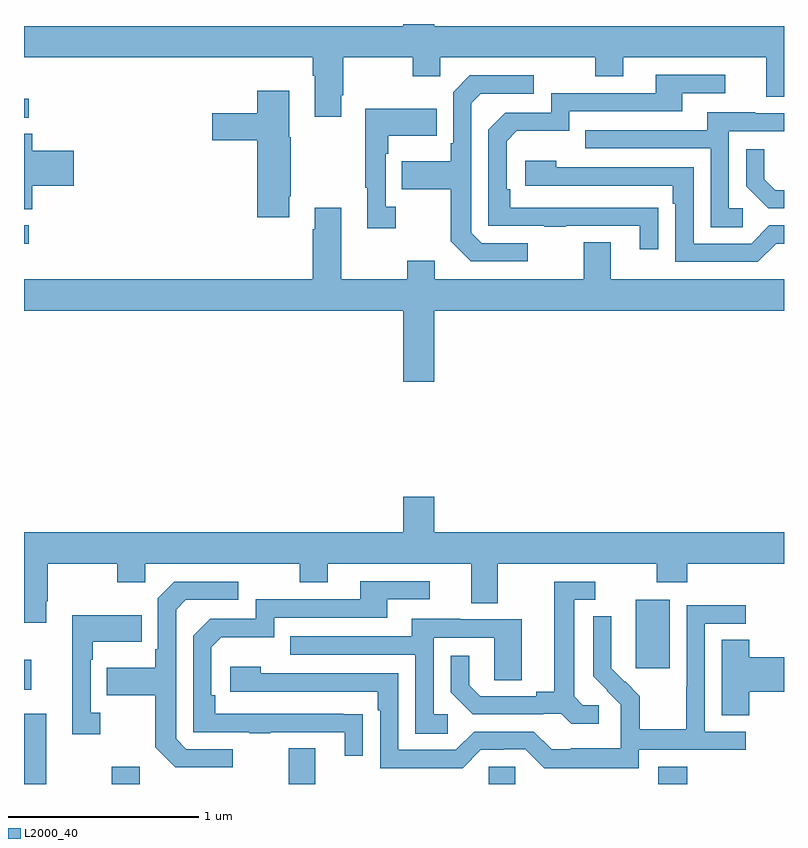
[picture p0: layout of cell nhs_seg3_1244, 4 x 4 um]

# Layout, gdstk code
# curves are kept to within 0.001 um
import gdstk
lib = gdstk.Library(unit=1e-6, precision=1e-09)
def R(c, l, rs):  # rectangles x0, y0, x1, y1
    for r in rs: c.add(gdstk.rectangle(r[:2], r[2:], *l))
def P(c, l, *ps):  # polygons
    for p in ps: c.add(gdstk.Polygon(p, *l))
L2000_40 = (2000, 40)

nhs_seg3_1244 = lib.new_cell('nhs_seg3_1244')
R(nhs_seg3_1244, L2000_40, [(175,722.4,175.117,722.77), (175.462,722.4,175.609,722.491), (176.393,722.4,176.533,722.587), (177.447,722.4,177.585,722.49), (178.337,722.4,178.49,722.491), (175,722.897,175.039,723.055), (178.22,723.009,178.399,723.37), (175,725.244,175.024,725.34), (175,725.907,175.024,726.006)])
P(nhs_seg3_1244, L2000_40, [(176.671,726.025),(176.679,726.025),(176.679,726.224),(177.046,726.224),(177.046,726.125),(177.192,726.125),(177.192,726.224),(178.006,726.224),(178.006,726.125),(178.153,726.125),(178.153,726.224),(178.907,726.224),(178.907,726.016),(179,726.016),(179,726.388),(177.16,726.388),(177.16,726.4),(176.996,726.4),(176.996,726.388),(175,726.388),(175,726.224),(176.519,726.224),(176.519,726.128),(176.531,726.128),(176.531,725.913),(176.671,725.913)],
  [(178.337,725.432),(177.56,725.433),(177.56,725.53),(177.54,725.53),(177.54,725.784),(177.593,725.837),(177.87,725.837),(177.87,725.94),(178.465,725.94),(178.465,726.036),(178.69,726.036),(178.69,726.132),(178.325,726.132),(178.325,726.036),(177.774,726.036),(177.774,725.934),(177.534,725.934),(177.444,725.844),(177.444,725.337),(177.739,725.337),(177.739,725.332),(177.851,725.332),(177.851,725.337),(178.241,725.337),(178.241,725.214),(178.337,725.214)],
  [(177.652,725.247),(177.408,725.247),(177.354,725.301),(177.354,725.982),(177.405,726.033),(177.682,726.033),(177.682,726.129),(177.345,726.129),(177.258,726.042),(177.258,725.773),(177.246,725.773),(177.246,725.677),(176.989,725.677),(176.989,725.53),(177.246,725.53),(177.246,725.257),(177.351,725.151),(177.652,725.151)],
  [(176.395,725.494),(176.403,725.494),(176.403,725.805),(176.395,725.805),(176.395,726.049),(176.228,726.049),(176.228,725.931),(175.992,725.931),(175.992,725.789),(176.228,725.789),(176.228,725.382),(176.395,725.382)],
  [(176.956,725.438),(176.904,725.438),(176.904,725.717),(176.917,725.717),(176.917,725.813),(177.173,725.813),(177.173,725.953),(176.796,725.953),(176.796,725.537),(176.807,725.537),(176.807,725.325),(176.956,725.325)],
  [(178.783,725.43),(178.71,725.43),(178.71,725.835),(179,725.835),(179,725.931),(178.849,725.931),(178.849,725.935),(178.595,725.935),(178.595,725.841),(177.955,725.841),(177.955,725.745),(178.614,725.745),(178.614,725.329),(178.783,725.329)],
  [(175.043,725.549),(175.261,725.549),(175.261,725.732),(175.043,725.732),(175.043,725.822),(175,725.822),(175,725.425),(175.043,725.425)],
  [(179,725.526),(178.954,725.526),(178.897,725.583),(178.897,725.74),(178.8,725.74),(178.8,725.546),(178.916,725.43),(179,725.43)],
  [(178.959,725.244),(179,725.244),(179,725.34),(178.923,725.34),(178.827,725.244),(178.524,725.244),(178.524,725.646),(177.8,725.646),(177.8,725.68),(177.639,725.68),(177.639,725.55),(178.415,725.55),(178.415,725.453),(178.428,725.453),(178.428,725.148),(178.863,725.148)],
  [(177.16,724.892),(179,724.892),(179,725.056),(178.087,725.056),(178.087,725.251),(177.947,725.251),(177.947,725.056),(177.163,725.056),(177.163,725.155),(177.016,725.155),(177.016,725.056),(176.671,725.056),(176.671,725.434),(176.531,725.434),(176.531,725.321),(176.519,725.321),(176.519,725.056),(175,725.056),(175,724.892),(176.996,724.892),(176.996,724.518),(177.16,724.518)],
  [(175.117,723.361),(175.125,723.361),(175.125,723.56),(175.492,723.56),(175.492,723.461),(175.638,723.461),(175.638,723.56),(176.452,723.56),(176.452,723.461),(176.599,723.461),(176.599,723.56),(177.353,723.56),(177.353,723.352),(177.493,723.352),(177.493,723.56),(178.33,723.56),(178.33,723.461),(178.49,723.461),(178.49,723.56),(179,723.56),(179,723.724),(177.16,723.724),(177.16,723.913),(176.996,723.913),(176.996,723.724),(175,723.724),(175,723.249),(175.117,723.249)],
  [(176.783,722.768),(176.006,722.769),(176.006,722.866),(175.986,722.866),(175.986,723.12),(176.039,723.173),(176.316,723.173),(176.316,723.276),(176.911,723.276),(176.911,723.372),(177.136,723.372),(177.136,723.468),(176.771,723.468),(176.771,723.372),(176.22,723.372),(176.22,723.27),(175.98,723.27),(175.89,723.18),(175.89,722.673),(176.185,722.673),(176.185,722.668),(176.297,722.668),(176.297,722.673),(176.687,722.673),(176.687,722.55),(176.783,722.55)],
  [(178.024,722.814),(177.942,722.814),(177.895,722.861),(177.895,723.369),(178.006,723.369),(178.006,723.465),(177.791,723.465),(177.791,722.885),(177.695,722.885),(177.695,722.862),(177.4,722.862),(177.343,722.919),(177.343,723.076),(177.246,723.076),(177.246,722.882),(177.362,722.766),(177.734,722.766),(177.734,722.769),(177.828,722.769),(177.88,722.717),(178.024,722.717)],
  [(176.098,722.583),(175.854,722.583),(175.8,722.637),(175.8,723.318),(175.851,723.369),(176.128,723.369),(176.128,723.465),(175.791,723.465),(175.704,723.378),(175.704,723.109),(175.692,723.109),(175.692,723.013),(175.435,723.013),(175.435,722.866),(175.692,722.866),(175.692,722.593),(175.797,722.487),(176.098,722.487)],
  [(178.236,722.58),(178.798,722.58),(178.798,722.676),(178.584,722.676),(178.584,723.243),(178.798,723.243),(178.798,723.342),(178.488,723.342),(178.488,722.912),(178.486,722.912),(178.486,722.689),(178.241,722.689),(178.241,722.863),(178.164,722.94),(178.161,722.937),(178.091,723.008),(178.092,723.284),(177.996,723.284),(177.996,722.966),(178.142,722.818),(178.142,722.721),(178.14,722.721),(178.14,722.587),(177.877,722.587),(177.877,722.583),(177.777,722.583),(177.684,722.676),(177.369,722.676),(177.273,722.58),(176.97,722.58),(176.97,722.982),(176.246,722.982),(176.246,723.016),(176.085,723.016),(176.085,722.886),(176.861,722.886),(176.861,722.789),(176.874,722.789),(176.874,722.484),(177.309,722.484),(177.405,722.58),(177.524,722.58),(177.524,722.583),(177.639,722.583),(177.739,722.483),(178.236,722.483)],
  [(175.402,722.774),(175.35,722.774),(175.35,723.053),(175.363,723.053),(175.363,723.149),(175.619,723.149),(175.619,723.289),(175.253,723.289),(175.253,722.661),(175.402,722.661)],
  [(177.229,722.766),(177.156,722.766),(177.156,723.171),(177.474,723.171),(177.474,722.947),(177.619,722.947),(177.619,723.267),(177.295,723.267),(177.295,723.271),(177.041,723.271),(177.041,723.177),(176.401,723.177),(176.401,723.081),(177.06,723.081),(177.06,722.665),(177.229,722.665)],
  [(178.817,722.885),(179,722.885),(179,723.068),(178.817,723.068),(178.817,723.158),(178.673,723.158),(178.673,722.761),(178.817,722.761)])

lib.write_gds('nhs_seg3_1244.gds')
